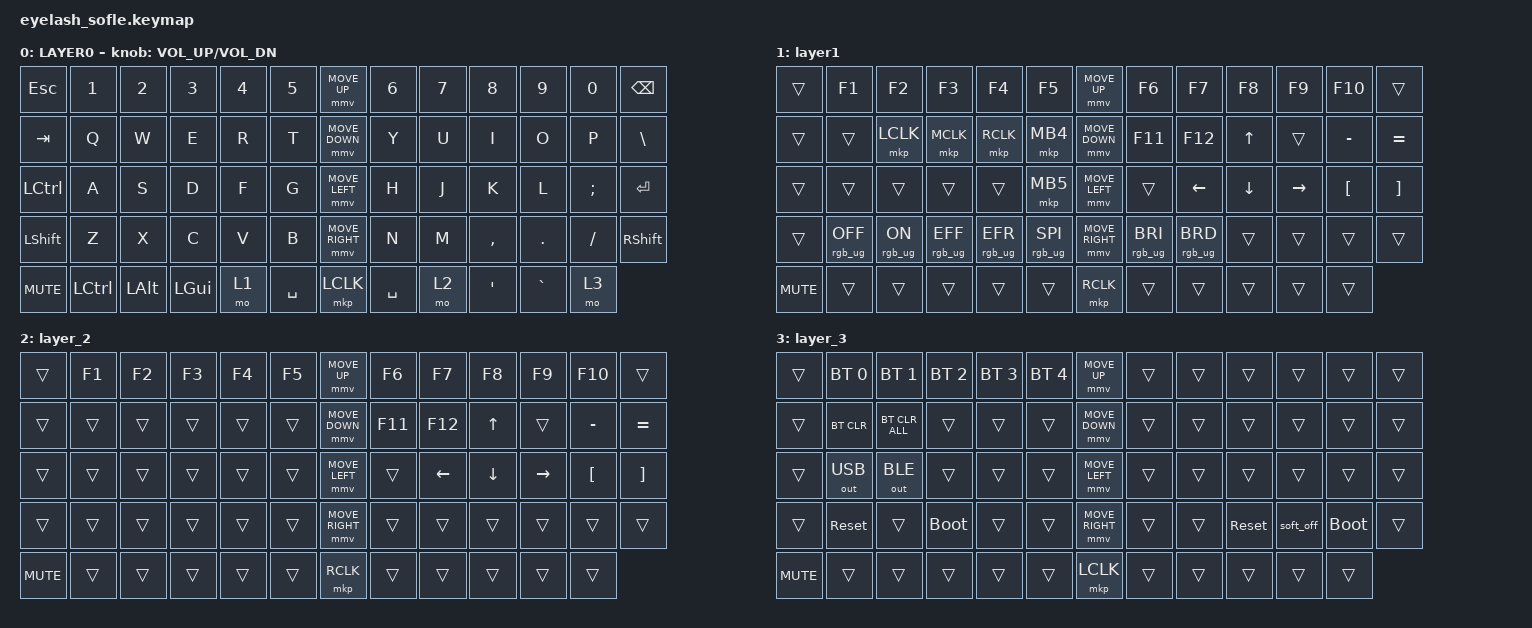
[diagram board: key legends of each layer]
#include <dt-bindings/zmk/mouse.h>
#include <input/processors.dtsi>
#include <behaviors.dtsi>
#include <dt-bindings/zmk/bt.h>
#include <dt-bindings/zmk/keys.h>
#include <dt-bindings/zmk/outputs.h>
#include <dt-bindings/zmk/pointing.h>
#include <dt-bindings/zmk/pointing.h>
#include <dt-bindings/zmk/pointing.h>
#include <dt-bindings/zmk/rgb.h>

/*

   &mmv_input_listener {
       input-processors = <&zip_xy_scaler 2 1>;
   };

   &msc_input_listener {
       input-processors = <&zip_xy_scaler 2 1>;
   };

 */

#define ZMK_MOUSE_DEFAULT_MOVE_VAL 1200  // 600
#define ZMK_MOUSE_DEFAULT_SCRL_VAL 20    // 10

/ {
    behaviors {
        mmv {
            acceleration-exponent = <1>;      // 1
            time-to-max-speed-ms = <900>;    // 40
            delay-ms = <0>;                   // 0
        };

        msc {
            acceleration-exponent = <1>;      // 0
            time-to-max-speed-ms = <400>;      // 500
            delay-ms = <0>;                   //   10
        };
    };

    scroll_encoder: scroll_encoder {
        compatible = "zmk,behavior-sensor-rotate";
        #sensor-binding-cells = <0>;
        bindings = <&msc SCRL_DOWN>, <&msc SCRL_UP>;

        tap-ms = <30>;
    };

    keymap {
        compatible = "zmk,keymap";

        layer0 {
            bindings = <
&kp ESC     &kp N1     &kp N2        &kp N3        &kp N4  &kp N5       &mmv MOVE_UP     &kp N6     &kp N7  &kp N8     &kp N9     &kp N0    &kp BACKSPACE
&kp TAB     &kp Q      &kp W         &kp E         &kp R   &kp T        &mmv MOVE_DOWN   &kp Y      &kp U   &kp I      &kp O      &kp P     &kp BSLH
&kp LCTRL   &kp A      &kp S         &kp D         &kp F   &kp G        &mmv MOVE_LEFT   &kp H      &kp J   &kp K      &kp L      &kp SEMI  &kp RETURN
&kp LSHFT   &kp Z      &kp X         &kp C         &kp V   &kp B        &mmv MOVE_RIGHT  &kp N      &kp M   &kp COMMA  &kp DOT    &kp FSLH  &kp RIGHT_SHIFT
&kp C_MUTE  &kp LCTRL  &kp LEFT_ALT  &kp LEFT_GUI  &mo 1   &kp SPACE    &mkp LCLK        &kp SPACE  &mo 2   &kp SQT    &kp GRAVE  &mo 3
            >;

            sensor-bindings = <&inc_dec_kp C_VOL_UP C_VOL_DN>;
            display-name = "LAYER0";
        };

        layer_1 {
            bindings = <
&trans      &kp F1           &kp F2          &kp F3           &kp F4           &kp F5             &mmv MOVE_UP     &kp F6           &kp F7           &kp F8    &kp F9     &kp F10           &trans
&trans      &trans           &mkp LCLK       &mkp MCLK        &mkp RCLK        &mkp MB4           &mmv MOVE_DOWN   &kp F11          &kp F12          &kp UP    &trans     &kp MINUS         &kp EQUAL
&trans      &trans           &trans          &trans           &trans           &mkp MB5           &mmv MOVE_LEFT   &trans           &kp LEFT         &kp DOWN  &kp RIGHT  &kp LEFT_BRACKET  &kp RIGHT_BRACKET
&trans      &rgb_ug RGB_OFF  &rgb_ug RGB_ON  &rgb_ug RGB_EFF  &rgb_ug RGB_EFR  &rgb_ug RGB_SPI    &mmv MOVE_RIGHT  &rgb_ug RGB_BRI  &rgb_ug RGB_BRD  &trans    &trans     &trans            &trans
&kp C_MUTE  &trans           &trans          &trans           &trans           &trans             &mkp RCLK        &trans           &trans           &trans    &trans     &trans
            >;

            display-name = "layer1";
        };

        layer_2 {
            bindings = <
&trans      &kp F1  &kp F2  &kp F3  &kp F4  &kp F5    &mmv MOVE_UP     &kp F6   &kp F7    &kp F8    &kp F9     &kp F10           &trans
&trans      &trans  &trans  &trans  &trans  &trans    &mmv MOVE_DOWN   &kp F11  &kp F12   &kp UP    &trans     &kp MINUS         &kp EQUAL
&trans      &trans  &trans  &trans  &trans  &trans    &mmv MOVE_LEFT   &trans   &kp LEFT  &kp DOWN  &kp RIGHT  &kp LEFT_BRACKET  &kp RIGHT_BRACKET
&trans      &trans  &trans  &trans  &trans  &trans    &mmv MOVE_RIGHT  &trans   &trans    &trans    &trans     &trans            &trans
&kp C_MUTE  &trans  &trans  &trans  &trans  &trans    &mkp RCLK        &trans   &trans    &trans    &trans     &trans
            >;
        };

        layer_3 {
            bindings = <
&trans      &bt BT_SEL 0  &bt BT_SEL 1    &bt BT_SEL 2  &bt BT_SEL 3  &bt BT_SEL 4    &mmv MOVE_UP     &trans  &trans  &trans      &trans     &trans       &trans
&trans      &bt BT_CLR    &bt BT_CLR_ALL  &trans        &trans        &trans          &mmv MOVE_DOWN   &trans  &trans  &trans      &trans     &trans       &trans
&trans      &out OUT_USB  &out OUT_BLE    &trans        &trans        &trans          &mmv MOVE_LEFT   &trans  &trans  &trans      &trans     &trans       &trans
&trans      &sys_reset    &trans          &bootloader   &trans        &trans          &mmv MOVE_RIGHT  &trans  &trans  &sys_reset  &soft_off  &bootloader  &trans
&kp C_MUTE  &trans        &trans          &trans        &trans        &trans          &mkp LCLK        &trans  &trans  &trans      &trans     &trans
            >;
        };
    };
};
